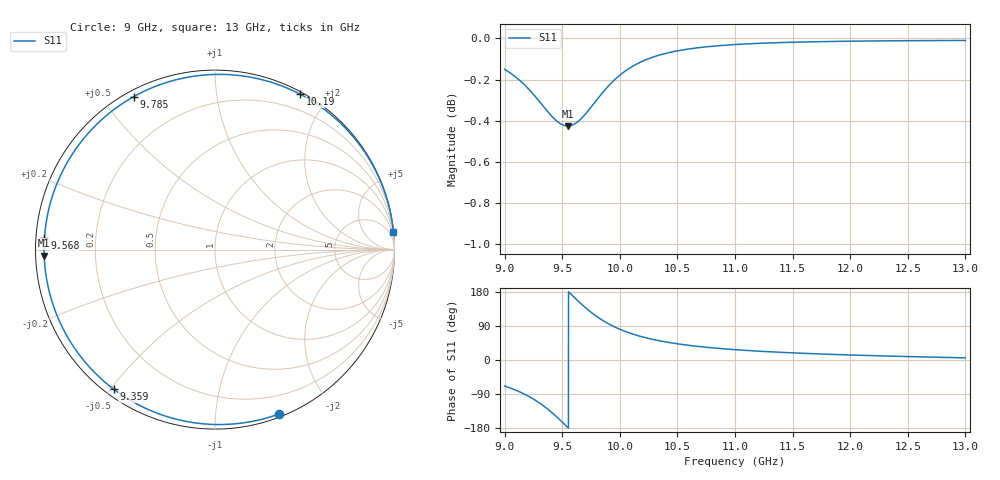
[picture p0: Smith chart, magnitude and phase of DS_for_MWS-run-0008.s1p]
! TOUCHSTONE file generated by CST DESIGN STUDIO
! Date and time: Tue Feb  4 13:33:49 2025
! Project name: C:\Work\MatlabApps\UnitCellOptimizationMatlab\CST\unitcell.cst
! Tree item: Tasks\Sweep1\SPara1\S-Parameters
! Header version: 2024
! Port assignment regex: !\s*Touchstone port\s*([0-9]+)\s*=\s*(CST MWS port|CST DES external port|CST DES block port)\s*(.+)\s* \(\"(.*)\"\)(\s*mode\s*([0-9]+))?.*
! Touchstone port assignment:
! Touchstone port 1 = CST DES external port 1 ("")
# GHz S MA R 50
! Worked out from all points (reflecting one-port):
!   4001 points, 9 GHz to 13 GHz, reference 50 ohm
!   lowest |S11| = -0.4 dB at 9.548 GHz (marker M1), VSWR 40.87, Z = 1.22 - j0.865 ohm
!   phase of S11 starts at -69 deg and turns -285 deg over the sweep
!   S11 on the Smith chart (normalised r, x): 9 GHz: 0.03, -1.46; 9.359 GHz: 0.03, -0.51; 9.568 GHz: 0.02, +0.03; 9.785 GHz: 0.02, +0.60; 10.19 GHz: 0.02, +1.69; 13 GHz: 0, +20
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9  0.9829 -68.8
9.103  0.9783 -80.4
9.213  0.9718 -96.5
9.29  0.9663 -110.8
9.359  0.961 -126.0
9.427  0.9563 -143.3
9.465  0.9543 -153.7
9.5  0.9529 -163.8
9.548  0.9522 -178.0
9.568  0.9523 176.0
9.623  0.9539 159.8
9.683  0.9573 143.1
9.734  0.961 129.9
9.785  0.9651 118.0
9.831  0.9687 108.4
9.881  0.9724 99.1
9.936  0.976 90.1
10  0.9797 81.1
10.092  0.9838 70.5
10.192  0.9872 61.3
10.333  0.9906 51.4
10.5  0.9931 42.7
10.721  0.9951 34.5
11  0.9966 27.2
11.5  0.9979 18.8
12  0.9985 13.2
12.5  0.9988 9.1
13  0.9989 5.7
